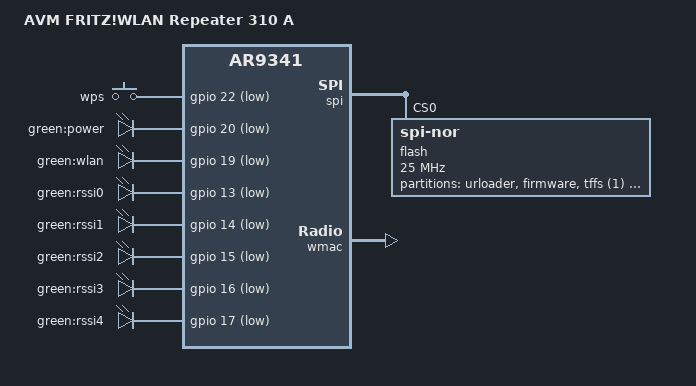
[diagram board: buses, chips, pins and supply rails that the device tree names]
// SPDX-License-Identifier: GPL-2.0-or-later OR MIT

#include "ar9341.dtsi"

#include <dt-bindings/gpio/gpio.h>
#include <dt-bindings/input/input.h>

/ {
	compatible = "avm,fritzrepeater-310_a", "qca,ar9341";
	model = "AVM FRITZ!WLAN Repeater 310 A";

	aliases {
		led-boot = &led_power;
		led-failsafe = &led_power;
		led-running = &led_power;
		led-upgrade = &led_power;
	};

	// TESTME
	keys {
		compatible = "gpio-keys";

		wps {
			label = "wps";
			linux,code = <KEY_WPS_BUTTON>;
			gpios = <&gpio 22 GPIO_ACTIVE_LOW>;
			debounce-interval = <60>;
		};
	};

	leds {
		compatible = "gpio-leds";

		led_power: power {
			label = "green:power";
			gpios = <&gpio 20 GPIO_ACTIVE_LOW>;
			default-state = "on";
		};

		wlan {
			label = "green:wlan";
			gpios = <&gpio 19 GPIO_ACTIVE_LOW>;
//			linux,default-trigger = "phy0tpt"; FIXME
			linux,default-trigger = "heartbeat";
		};

		rssi0 {
			label = "green:rssi0";
			gpios = <&gpio 13 GPIO_ACTIVE_LOW>;
		};

		rssi1 {
			label = "green:rssi1";
			gpios = <&gpio 14 GPIO_ACTIVE_LOW>;
		};

		rssi2 {
			label = "green:rssi2";
			gpios = <&gpio 15 GPIO_ACTIVE_LOW>;
		};

		rssi3 {
			label = "green:rssi3";
			gpios = <&gpio 16 GPIO_ACTIVE_LOW>;
		};

		rssi4 {
			label = "green:rssi4";
			gpios = <&gpio 17 GPIO_ACTIVE_LOW>;
		};
	};
};

&ref {
	clock-frequency = <40000000>;
};

&spi {
	status = "okay";

	flash@0 {
		compatible = "jedec,spi-nor";
		reg = <0>;
		spi-max-frequency = <25000000>;

		// TESTME flash claims to support 80 MHz + fast read
		// spi-max-frequency = <80000000>;
		m25p,fast-read;

		partitions {
			compatible = "fixed-partitions";
			#address-cells = <1>;
			#size-cells = <1>;

			partition@0 {
				reg = <0x0 0x20000>;
				label = "urloader";
				read-only;
			};

			partition@20000 {
				compatible = "avm,eva-firmware";
				reg = <0x20000 0xee0000>;
				label = "firmware";
			};

			partition@f00000 {
				reg = <0xf00000 0x80000>;
				label = "tffs (1)";
				read-only;
			};

			partition@f80000 {
				reg = <0xf80000 0x80000>;
				label = "tffs (2)";
				read-only;
			};
		};
	};
};

// TESTME
// art parition table does not exists, calibration data seems to be part of the bootloader partition
&wmac {
	status = "okay";

	mtd-cal-data = <&urloader 0x958>;

	nvmem-cells = <&macaddr_urloader_0>;
	nvmem-cell-names = "mac-address";
};

&urloader {
	compatible = "nvmem-cells";
	#address-cells = <1>;
	#size-cells = <1>;

	macaddr_urloader_0: macaddr@0 {
		reg = <0x93c 0x6>;
	};
};
